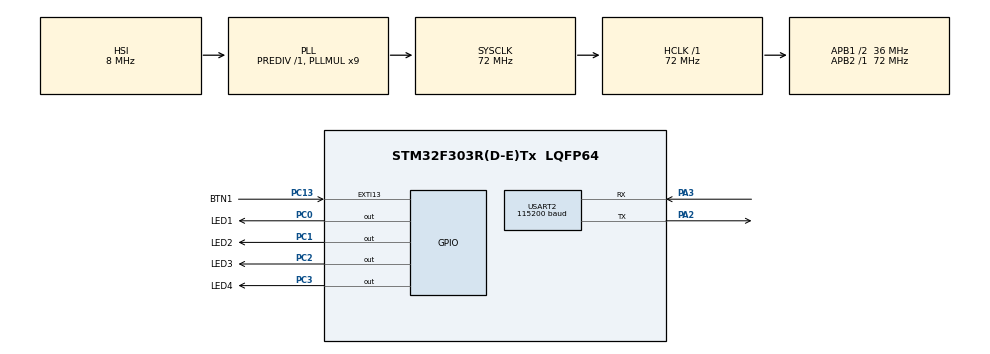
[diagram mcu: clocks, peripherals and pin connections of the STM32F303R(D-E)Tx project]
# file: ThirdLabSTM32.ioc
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Dma.Request0=USART2_RX
Dma.Request1=USART2_TX
Dma.USART2_RX.0.Direction=DMA_PERIPH_TO_MEMORY
Dma.USART2_RX.0.Instance=DMA1_Channel6
Dma.USART2_RX.0.MemDataAlignment=DMA_MDATAALIGN_BYTE
Dma.USART2_RX.0.MemInc=DMA_MINC_ENABLE
Dma.USART2_RX.0.Mode=DMA_NORMAL
Dma.USART2_RX.0.PeriphDataAlignment=DMA_PDATAALIGN_BYTE
Dma.USART2_RX.0.PeriphInc=DMA_PINC_DISABLE
Dma.USART2_RX.0.Priority=DMA_PRIORITY_LOW
Dma.USART2_TX.1.Direction=DMA_MEMORY_TO_PERIPH
Dma.USART2_TX.1.Instance=DMA1_Channel7
Dma.USART2_TX.1.MemDataAlignment=DMA_MDATAALIGN_BYTE
Dma.USART2_TX.1.MemInc=DMA_MINC_ENABLE
Dma.USART2_TX.1.Mode=DMA_NORMAL
Dma.USART2_TX.1.PeriphDataAlignment=DMA_PDATAALIGN_BYTE
Dma.USART2_TX.1.PeriphInc=DMA_PINC_DISABLE
Dma.USART2_TX.1.Priority=DMA_PRIORITY_LOW
FREERTOS.BinarySemaphores01=BtnMainSem,Dynamic,NULL;UARTTxSem,Dynamic,NULL
FREERTOS.Queues01=UARTTxQueue,10,UARTTxQueue_t,0,Dynamic,NULL,NULL;UARTRxQueue,16,UARTRxQueue_t,0,Dynamic,NULL,NULL
FREERTOS.Tasks01=LED1Task,8,128,StartLED1Task,Default,NULL,Dynamic,NULL,NULL;BTNTask,8,128,StartBTNTask,Default,NULL,Dynamic,NULL,NULL;UARTTxTask,8,256,StartUARTTxTask,Default,NULL,Dynamic,NULL,NULL;UARTRxTask,8,384,StartUARTRxTask,Default,NULL,Dynamic,NULL,NULL
FREERTOS.configGENERATE_RUN_TIME_STATS=1
FREERTOS.configMAX_PRIORITIES=4
FREERTOS.configMAX_TASK_NAME_LEN=16
FREERTOS.configTOTAL_HEAP_SIZE=10512
FREERTOS.configUSE_NEWLIB_REENTRANT=1
FREERTOS.configUSE_STATS_FORMATTING_FUNCTIONS=1
FREERTOS.configUSE_TRACE_FACILITY=1
Mcu.Family=STM32F3
Mcu.Name=STM32F303R(D-E)Tx
Mcu.Package=LQFP64
NVIC.DMA1_Channel6_IRQn=true\:5\:0\:false\:false\:true\:true\:false\:true\:true
NVIC.DMA1_Channel7_IRQn=true\:5\:0\:false\:false\:true\:true\:false\:true\:true
NVIC.EXTI15_10_IRQn=true\:5\:0\:false\:false\:true\:true\:true\:true\:true
NVIC.PriorityGroup=NVIC_PRIORITYGROUP_4
NVIC.TIM1_UP_TIM16_IRQn=true\:15\:0\:false\:false\:true\:false\:false\:true\:true
NVIC.TimeBase=TIM1_UP_TIM16_IRQn
NVIC.TimeBaseIP=TIM1
NVIC.USART2_IRQn=true\:5\:0\:false\:false\:true\:true\:true\:true\:true
PA13.Mode=Serial_Wire
PA13.Signal=SYS_JTMS-SWDIO
PA14.Mode=Serial_Wire
PA14.Signal=SYS_JTCK-SWCLK
PA2.Mode=Asynchronous
PA2.Signal=USART2_TX
PA3.Mode=Asynchronous
PA3.Signal=USART2_RX
PC0.GPIO_Label=LED1
PC0.Signal=GPIO_Output
PC1.GPIO_Label=LED2
PC1.Signal=GPIO_Output
PC13.GPIO_Label=BTN1
PC13.GPIO_ModeDefaultEXTI=GPIO_MODE_IT_RISING_FALLING
PC13.Signal=GPXTI13
PC2.GPIO_Label=LED3
PC2.Signal=GPIO_Output
PC3.GPIO_Label=LED4
PC3.Signal=GPIO_Output
PF0-OSC_IN.Mode=HSE-External-Oscillator
PF0-OSC_IN.Signal=RCC_OSC_IN
PF1-OSC_OUT.Mode=HSE-External-Oscillator
PF1-OSC_OUT.Signal=RCC_OSC_OUT
ProjectManager.HeapSize=0x200
ProjectManager.StackSize=0x400
ProjectManager.TargetToolchain=STM32CubeIDE
RCC.AHBFreq_Value=72000000
RCC.APB1CLKDivider=RCC_HCLK_DIV2
RCC.APB1Freq_Value=36000000
RCC.APB1TimFreq_Value=72000000
RCC.APB2Freq_Value=72000000
RCC.APB2TimFreq_Value=72000000
RCC.CortexFreq_Value=72000000
RCC.HCLKFreq_Value=72000000
RCC.HSE_VALUE=8000000
RCC.HSI_VALUE=8000000
RCC.LSE_VALUE=32768
RCC.PLLMUL=RCC_PLL_MUL9
RCC.SYSCLKFreq_VALUE=72000000
RCC.SYSCLKSourceVirtual=RCC_SYSCLKSOURCE_PLLCLK
RCC.USBFreq_Value=72000000
USART2.BaudRate=115200
USART2.VirtualMode-Asynchronous=VM_ASYNC
VP_FREERTOS_VS_CMSIS_V2.Mode=CMSIS_V2
VP_SYS_VS_tim1.Mode=TIM1
board=custom

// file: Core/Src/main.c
/* USER CODE BEGIN Header */
/**
  ******************************************************************************
  * @file           : main.c
  * @brief          : Main program body
  ******************************************************************************
  * @attention
  *
  * Copyright (c) 2023 STMicroelectronics.
  * All rights reserved.
  *
  * This software is licensed under terms that can be found in the LICENSE file
  * in the root directory of this software component.
  * If no LICENSE file comes with this software, it is provided AS-IS.
  *
  ******************************************************************************
  */
/* USER CODE END Header */
#include "main.h"
#include "cmsis_os.h"

/* USER CODE BEGIN Includes */
#include "stdio.h"
#include "string.h"
#include "stdlib.h"
#include "ctype.h"
/* USER CODE END Includes */

/* USER CODE BEGIN PTD */
typedef struct {
	char TxBuf[50];
} UARTTxQueue_t;
typedef struct {
	char RxBuf[16];
} UARTRxQueue_t;
/* USER CODE END PTD */

/* USER CODE BEGIN PD */
#define NUM_LED 4
#define Shift_Amount 1
#define RxBuf_SIZE 16
#define TxBuf_SIZE 50
#define MAX_TASKS 2
#define NUM_COMMAND 1
/* USER CODE END PD */

UART_HandleTypeDef huart2;
DMA_HandleTypeDef hdma_usart2_rx;
DMA_HandleTypeDef hdma_usart2_tx;

/* Definitions for LED1Task */
osThreadId_t LED1TaskHandle;
const osThreadAttr_t LED1Task_attributes = {
  .name = "LED1Task",
  .stack_size = 128 * 4,
  .priority = (osPriority_t) osPriorityLow,
};
/* Definitions for BTNTask */
osThreadId_t BTNTaskHandle;
const osThreadAttr_t BTNTask_attributes = {
  .name = "BTNTask",
  .stack_size = 128 * 4,
  .priority = (osPriority_t) osPriorityLow,
};
/* Definitions for UARTTxTask */
osThreadId_t UARTTxTaskHandle;
const osThreadAttr_t UARTTxTask_attributes = {
  .name = "UARTTxTask",
  .stack_size = 256 * 4,
  .priority = (osPriority_t) osPriorityLow,
};
/* Definitions for UARTRxTask */
osThreadId_t UARTRxTaskHandle;
const osThreadAttr_t UARTRxTask_attributes = {
  .name = "UARTRxTask",
  .stack_size = 384 * 4,
  .priority = (osPriority_t) osPriorityLow,
};
/* Definitions for UARTTxQueue */
osMessageQueueId_t UARTTxQueueHandle;
const osMessageQueueAttr_t UARTTxQueue_attributes = {
  .name = "UARTTxQueue"
};
/* Definitions for UARTRxQueue */
osMessageQueueId_t UARTRxQueueHandle;
const osMessageQueueAttr_t UARTRxQueue_attributes = {
  .name = "UARTRxQueue"
};
/* Definitions for BtnMainSem */
osSemaphoreId_t BtnMainSemHandle;
const osSemaphoreAttr_t BtnMainSem_attributes = {
  .name = "BtnMainSem"
};
/* Definitions for UARTTxSem */
osSemaphoreId_t UARTTxSemHandle;
const osSemaphoreAttr_t UARTTxSem_attributes = {
  .name = "UARTTxSem"
};
/* USER CODE BEGIN PV */
uint8_t RxBuf[RxBuf_SIZE];
// Структура для хранения массивов команд и сообщений об ошибках
struct CommandCMD {
    const char *Name[NUM_COMMAND];
    const char *ErrorMessages[NUM_COMMAND];
    const char *CompletedMessages[NUM_COMMAND];
} CMD = {
    {
    	"f="
    },
    {
        "Invalid command format. Command should be in the format 'F=x.x' with x in the range 0.1 to 9.9 Hz.\n"
    },
    {
        "LED updates frequently: f=%.2f Hz \n"
    }
};
struct State_User_Buttons {
	uint8_t stateUB1 :2;
};
struct Stored_LEDs
{
    uint8_t stateLEDArray1:NUM_LED;
	uint8_t ModeLED1:1;
	uint16_t RefreshRateLED;
} SLED;
/* USER CODE END PV */

void SystemClock_Config(void);
static void MX_GPIO_Init(void);
static void MX_DMA_Init(void);
static void MX_USART2_UART_Init(void);
void StartLED1Task(void *argument);
void StartBTNTask(void *argument);
void StartUARTTxTask(void *argument);
void StartUARTRxTask(void *argument);

/* USER CODE BEGIN 0 */
// Функция для выполнения кольцевого сдвига битов влево и возвращения числа
void circularLeftShiftLEDByte(struct Stored_LEDs* SLED) {
    SLED->stateLEDArray1 = (SLED->stateLEDArray1 << Shift_Amount) | (SLED->stateLEDArray1 >> (4 - Shift_Amount));
}

// Функция для извлечения определенного бита из поля x
uint8_t getLEDByte(struct Stored_LEDs* SLED, uint8_t bitIndex) {
    return (SLED->stateLEDArray1 >> bitIndex) & 1;
}

void ToggleLEDByte(struct Stored_LEDs* SLED)
{
	HAL_GPIO_WritePin(LED1_GPIO_Port, LED1_Pin, getLEDByte(SLED, 3));
	HAL_GPIO_WritePin(LED2_GPIO_Port, LED2_Pin, getLEDByte(SLED, 2));
	HAL_GPIO_WritePin(LED3_GPIO_Port, LED3_Pin, getLEDByte(SLED, 1));
	HAL_GPIO_WritePin(LED4_GPIO_Port, LED4_Pin, getLEDByte(SLED, 0));
}

void Command_Processing(struct CommandCMD* CMD, char *strRx, char *strTx, struct Stored_LEDs* SLED) {
	int commandIndex = -1;

    // Преобразуйте все символы входной строки в нижний регистр для нечувствительности к регистру.
    for (int i = 0; strRx[i]; i++) {
        strRx[i] = tolower(strRx[i]);
    }

    // Найдите индекс соответствующей команды.
    for (uint8_t i = 0; i < NUM_COMMAND; i++) {
        if (strncmp(strRx, CMD->Name[i], strlen(CMD->Name[i])) == 0) {
            commandIndex = i;
            break;
        }
    }

    // Обработка команд на основе найденного индекса.
    switch (commandIndex) {
    	case 0:{
        	char *endPtr;
        	float frequency = strtod(strRx + 2, &endPtr);
        	if (endPtr != strRx + 2 && frequency >= 0.1 && frequency <= 9.9) {
        		SLED->RefreshRateLED = (uint16_t)((1/frequency)*1000);
        		sprintf(strTx, CMD->CompletedMessages[commandIndex], frequency);
            } else strcpy(strTx, CMD->ErrorMessages[commandIndex]);
        } break;

        default:
            // Выведите текст ошибки, если ни одна из команд не совпала.
        	strcpy(strTx, "Invalid command. Supported commands: 'F=x.x'\n");
        break;
    }
}

/* USER CODE END 0 */

int main(void)
{

  /* MCU Configuration--------------------------------------------------------*/

  /* Reset of all peripherals, Initializes the Flash interface and the Systick. */
  HAL_Init();

  /* Configure the system clock */
  SystemClock_Config();

  /* Initialize all configured peripherals */
  MX_GPIO_Init();
  MX_DMA_Init();
  MX_USART2_UART_Init();
  /* USER CODE BEGIN 2 */
  HAL_UARTEx_ReceiveToIdle_DMA(&huart2, (uint8_t *) RxBuf, RxBuf_SIZE);
  __HAL_DMA_DISABLE_IT(&hdma_usart2_rx, DMA_IT_HT);
  SLED.RefreshRateLED = 1000;
  SLED.stateLEDArray1 = 10;

  /* USER CODE END 2 */

  /* Init scheduler */
  osKernelInitialize();

  /* Create the semaphores(s) */
  /* creation of BtnMainSem */
  BtnMainSemHandle = osSemaphoreNew(1, 0, &BtnMainSem_attributes);

  /* creation of UARTTxSem */
  UARTTxSemHandle = osSemaphoreNew(1, 0, &UARTTxSem_attributes);

  /* Create the queue(s) */
  /* creation of UARTTxQueue */
  UARTTxQueueHandle = osMessageQueueNew (10, sizeof(UARTTxQueue_t), &UARTTxQueue_attributes);

  /* creation of UARTRxQueue */
  UARTRxQueueHandle = osMessageQueueNew (16, sizeof(UARTRxQueue_t), &UARTRxQueue_attributes);

  /* Create the thread(s) */
  /* creation of LED1Task */
  LED1TaskHandle = osThreadNew(StartLED1Task, NULL, &LED1Task_attributes);

  /* creation of BTNTask */
  BTNTaskHandle = osThreadNew(StartBTNTask, NULL, &BTNTask_attributes);

  /* creation of UARTTxTask */
  UARTTxTaskHandle = osThreadNew(StartUARTTxTask, NULL, &UARTTxTask_attributes);

  /* creation of UARTRxTask */
  UARTRxTaskHandle = osThreadNew(StartUARTRxTask, NULL, &UARTRxTask_attributes);

  /* Start scheduler */
  osKernelStart();

  /* We should never get here as control is now taken by the scheduler */
  /* Infinite loop */
  while (1)
  {

  }
}

void SystemClock_Config(void)
{
  RCC_OscInitTypeDef RCC_OscInitStruct = {0};
  RCC_ClkInitTypeDef RCC_ClkInitStruct = {0};
  RCC_PeriphCLKInitTypeDef PeriphClkInit = {0};

  /** Initializes the RCC Oscillators according to the specified parameters
  * in the RCC_OscInitTypeDef structure.
  */
  RCC_OscInitStruct.OscillatorType = RCC_OSCILLATORTYPE_HSI;
  RCC_OscInitStruct.HSIState = RCC_HSI_ON;
  RCC_OscInitStruct.HSICalibrationValue = RCC_HSICALIBRATION_DEFAULT;
  RCC_OscInitStruct.PLL.PLLState = RCC_PLL_ON;
  RCC_OscInitStruct.PLL.PLLSource = RCC_PLLSOURCE_HSI;
  RCC_OscInitStruct.PLL.PLLMUL = RCC_PLL_MUL9;
  RCC_OscInitStruct.PLL.PREDIV = RCC_PREDIV_DIV1;
  if (HAL_RCC_OscConfig(&RCC_OscInitStruct) != HAL_OK)
  {
    Error_Handler();
  }

  /** Initializes the CPU, AHB and APB buses clocks
  */
  RCC_ClkInitStruct.ClockType = RCC_CLOCKTYPE_HCLK|RCC_CLOCKTYPE_SYSCLK
                              |RCC_CLOCKTYPE_PCLK1|RCC_CLOCKTYPE_PCLK2;
  RCC_ClkInitStruct.SYSCLKSource = RCC_SYSCLKSOURCE_PLLCLK;
  RCC_ClkInitStruct.AHBCLKDivider = RCC_SYSCLK_DIV1;
  RCC_ClkInitStruct.APB1CLKDivider = RCC_HCLK_DIV2;
  RCC_ClkInitStruct.APB2CLKDivider = RCC_HCLK_DIV1;

  if (HAL_RCC_ClockConfig(&RCC_ClkInitStruct, FLASH_LATENCY_2) != HAL_OK)
  {
    Error_Handler();
  }
  PeriphClkInit.PeriphClockSelection = RCC_PERIPHCLK_USART2;
  PeriphClkInit.Usart2ClockSelection = RCC_USART2CLKSOURCE_PCLK1;
  if (HAL_RCCEx_PeriphCLKConfig(&PeriphClkInit) != HAL_OK)
  {
    Error_Handler();
  }
}

static void MX_USART2_UART_Init(void)
{

  huart2.Instance = USART2;
  huart2.Init.BaudRate = 115200;
  huart2.Init.WordLength = UART_WORDLENGTH_8B;
  huart2.Init.StopBits = UART_STOPBITS_1;
  huart2.Init.Parity = UART_PARITY_NONE;
  huart2.Init.Mode = UART_MODE_TX_RX;
  huart2.Init.HwFlowCtl = UART_HWCONTROL_NONE;
  huart2.Init.OverSampling = UART_OVERSAMPLING_16;
  huart2.Init.OneBitSampling = UART_ONE_BIT_SAMPLE_DISABLE;
  huart2.AdvancedInit.AdvFeatureInit = UART_ADVFEATURE_NO_INIT;
  if (HAL_UART_Init(&huart2) != HAL_OK)
  {
    Error_Handler();
  }

}

static void MX_DMA_Init(void)
{

  /* DMA controller clock enable */
  __HAL_RCC_DMA1_CLK_ENABLE();

  /* DMA interrupt init */
  /* DMA1_Channel6_IRQn interrupt configuration */
  HAL_NVIC_SetPriority(DMA1_Channel6_IRQn, 5, 0);
  HAL_NVIC_EnableIRQ(DMA1_Channel6_IRQn);
  /* DMA1_Channel7_IRQn interrupt configuration */
  HAL_NVIC_SetPriority(DMA1_Channel7_IRQn, 5, 0);
  HAL_NVIC_EnableIRQ(DMA1_Channel7_IRQn);

}

static void MX_GPIO_Init(void)
{
  GPIO_InitTypeDef GPIO_InitStruct = {0};

  /* GPIO Ports Clock Enable */
  __HAL_RCC_GPIOC_CLK_ENABLE();
  __HAL_RCC_GPIOF_CLK_ENABLE();
  __HAL_RCC_GPIOA_CLK_ENABLE();

  /*Configure GPIO pin Output Level */
  HAL_GPIO_WritePin(GPIOC, LED1_Pin|LED2_Pin|LED3_Pin|LED4_Pin, GPIO_PIN_RESET);

  /*Configure GPIO pin : BTN1_Pin */
  GPIO_InitStruct.Pin = BTN1_Pin;
  GPIO_InitStruct.Mode = GPIO_MODE_IT_RISING_FALLING;
  GPIO_InitStruct.Pull = GPIO_NOPULL;
  HAL_GPIO_Init(BTN1_GPIO_Port, &GPIO_InitStruct);

  /*Configure GPIO pins : LED1_Pin LED2_Pin LED3_Pin LED4_Pin */
  GPIO_InitStruct.Pin = LED1_Pin|LED2_Pin|LED3_Pin|LED4_Pin;
  GPIO_InitStruct.Mode = GPIO_MODE_OUTPUT_PP;
  GPIO_InitStruct.Pull = GPIO_NOPULL;
  GPIO_InitStruct.Speed = GPIO_SPEED_FREQ_LOW;
  HAL_GPIO_Init(GPIOC, &GPIO_InitStruct);

  /* EXTI interrupt init*/
  HAL_NVIC_SetPriority(EXTI15_10_IRQn, 5, 0);
  HAL_NVIC_EnableIRQ(EXTI15_10_IRQn);

}

/* USER CODE BEGIN 4 */
void Press_Fixation_UB1(struct State_User_Buttons* SUB){
	if((SUB->stateUB1 & 0x2) != 0){
		osSemaphoreRelease(BtnMainSemHandle);
		SUB->stateUB1 = 0;
	}
}

void Button_status_change(struct State_User_Buttons* SUB, uint16_t GPIO_Pin){
	uint8_t State = !(HAL_GPIO_ReadPin(BTN1_GPIO_Port, GPIO_Pin));
	SUB->stateUB1 =  SUB->stateUB1 << 1;
	if(State) SUB->stateUB1 |= (State);
	else SUB->stateUB1 &= ~(State);
}

// Функция обратного вызова обработки прерывания EXTI External Interrupt
void HAL_GPIO_EXTI_Callback(uint16_t GPIO_Pin)
{
	static struct State_User_Buttons SUB;
	switch (GPIO_Pin) {
		case BTN1_Pin: {
			Button_status_change(&SUB, GPIO_Pin);
			Press_Fixation_UB1(&SUB);
		} break;
		default: break;
	}
}

/* Функцию обратного вызова UART RX IDLE ------------------------------------------*/
void HAL_UARTEx_RxEventCallback(UART_HandleTypeDef *huart, uint16_t Size)
{
	if (huart->Instance == USART2)
	{
		osMessageQueuePut(UARTRxQueueHandle, &RxBuf, 0, 0);
		HAL_UARTEx_ReceiveToIdle_DMA(&huart2, (uint8_t *) RxBuf, RxBuf_SIZE);
		__HAL_DMA_DISABLE_IT(&hdma_usart2_rx, DMA_IT_HT);
	}
}
/* Функцию обратного вызова UART TX --------------------------------------------*/
void HAL_UART_TxCpltCallback(UART_HandleTypeDef *huart)
{
	if (huart->Instance == USART2){
		if(HAL_UART_GetState (&huart2) != HAL_UART_STATE_BUSY_TX){
			osSemaphoreRelease(UARTTxSemHandle);
		}
	}
}
/* USER CODE END 4 */

void StartLED1Task(void *argument)
{
  /* USER CODE BEGIN 5 */
  /* Infinite loop */
  for(;;)
  {
	circularLeftShiftLEDByte(&SLED);
	ToggleLEDByte(&SLED);
    osDelay(SLED.RefreshRateLED);
  }
  /* USER CODE END 5 */
}

void StartBTNTask(void *argument)
{
  /* USER CODE BEGIN StartBTNTask */
  /* Infinite loop */
  for(;;)
  {
	  if(osSemaphoreAcquire(BtnMainSemHandle, osWaitForever) == osOK){
	    SLED.ModeLED1 ^= 1;
	    SLED.ModeLED1?(SLED.stateLEDArray1 = 9):(SLED.stateLEDArray1 = 10);
	  }
	  osDelay(500);
  }
  /* USER CODE END StartBTNTask */
}

void StartUARTTxTask(void *argument)
{
  /* USER CODE BEGIN StartUARTTxTask */
  UARTTxQueue_t tempTxmsg;
  /* Infinite loop */
  for(;;)
  {
	memset(tempTxmsg.TxBuf, 0, sizeof(tempTxmsg.TxBuf));
	osMessageQueueGet(UARTTxQueueHandle, &tempTxmsg, 0, osWaitForever);
	HAL_UART_Transmit_DMA(&huart2, (uint8_t*) tempTxmsg.TxBuf, strlen(tempTxmsg.TxBuf));
	osSemaphoreAcquire(UARTTxSemHandle, osWaitForever);
	osDelay(1);
  }
  /* USER CODE END StartUARTTxTask */
}

void StartUARTRxTask(void *argument)
{
  /* USER CODE BEGIN StartUARTRxTask */
  UARTRxQueue_t tempRxmsg;
  UARTTxQueue_t tempTxmsg;
  /* Infinite loop */
  for(;;)
  {
    memset(tempRxmsg.RxBuf, 0, sizeof(tempRxmsg.RxBuf));
  	memset(tempTxmsg.TxBuf, 0, sizeof(tempTxmsg.TxBuf));
	osMessageQueueGet(UARTRxQueueHandle, &tempRxmsg, 0, osWaitForever);
	Command_Processing(&CMD, tempRxmsg.RxBuf, tempTxmsg.TxBuf, &SLED);
	if(strlen(tempTxmsg.TxBuf) != 0){
		osMessageQueuePut(UARTTxQueueHandle, &tempTxmsg, 0, osWaitForever);
	}
	osDelay(1);
  }
  /* USER CODE END StartUARTRxTask */
}

void HAL_TIM_PeriodElapsedCallback(TIM_HandleTypeDef *htim)
{
  if (htim->Instance == TIM1) {
    HAL_IncTick();
  }
}

void Error_Handler(void)
{
  __disable_irq();
  while (1)
  {
  }
}
